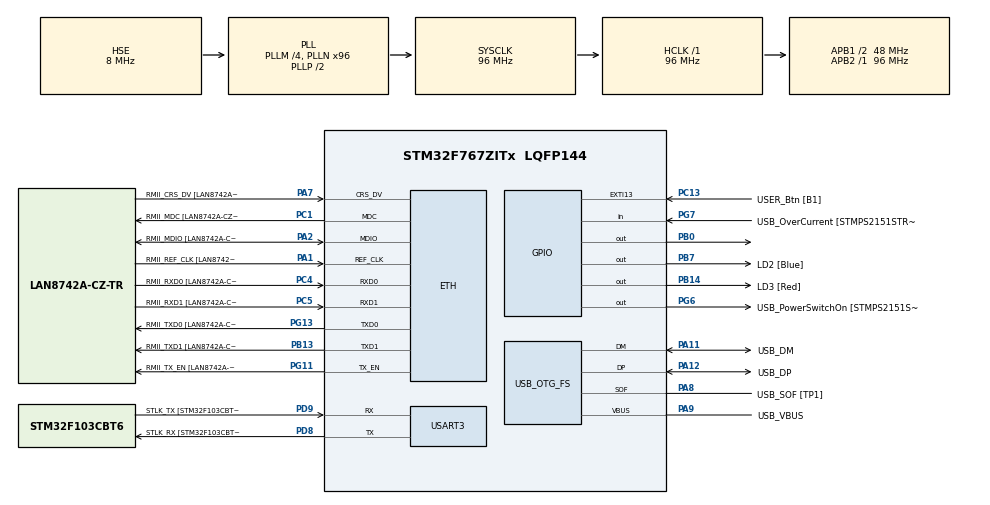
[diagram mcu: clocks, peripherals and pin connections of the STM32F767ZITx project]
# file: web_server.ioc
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ETH.MediaInterface=HAL_ETH_RMII_MODE
LWIP.BSP.number=1
LWIP.GATEWAY_ADDRESS=192.168.001.001
LWIP.HTTPD_USE_CUSTOM_FSDATA=0
LWIP.IP_ADDRESS=192.168.001.111
LWIP.LWIP_DHCP=0
LWIP.LWIP_ENABLE_NETIF_HOSTNAME=1
LWIP.LWIP_HTTPD=1
LWIP.LWIP_HTTPD_CGI=1
LWIP.LWIP_HTTPD_SSI=0
LWIP.NETMASK_ADDRESS=255.255.255.000
LWIP.Version=v2.1.2_Cube
LWIP0.BSP.STBoard=false
LWIP0.BSP.api=BSP_COMPONENT_DRIVER
LWIP0.BSP.component=LAN8742
LWIP0.BSP.instance=LAN8742
LWIP0.BSP.name=Driver_PHY
LWIP0.BSP.semaphore=S_LAN8742
LWIP0.BSP.solution=LAN8742
Mcu.Family=STM32F7
Mcu.Name=STM32F767ZITx
Mcu.Package=LQFP144
NVIC.PriorityGroup=NVIC_PRIORITYGROUP_4
PA1.GPIO_Label=RMII_REF_CLK [LAN8742A-CZ-TR_REFCLK0]
PA1.Mode=RMII
PA1.Signal=ETH_REF_CLK
PA10.GPIO_Label=USB_ID
PA10.Signal=USB_OTG_FS_ID
PA11.GPIO_Label=USB_DM
PA11.Mode=Device_Only
PA11.Signal=USB_OTG_FS_DM
PA12.GPIO_Label=USB_DP
PA12.Mode=Device_Only
PA12.Signal=USB_OTG_FS_DP
PA13.GPIO_Label=TMS
PA13.Mode=Serial_Wire
PA13.Signal=SYS_JTMS-SWDIO
PA14.GPIO_Label=TCK
PA14.Mode=Serial_Wire
PA14.Signal=SYS_JTCK-SWCLK
PA2.GPIO_Label=RMII_MDIO [LAN8742A-CZ-TR_MDIO]
PA2.Mode=RMII
PA2.Signal=ETH_MDIO
PA7.GPIO_Label=RMII_CRS_DV [LAN8742A-CZ-TR_CRS_DV]
PA7.Mode=RMII
PA7.Signal=ETH_CRS_DV
PA8.GPIO_Label=USB_SOF [TP1]
PA8.Mode=Activate_SOF_FS
PA8.Signal=USB_OTG_FS_SOF
PA9.GPIO_Label=USB_VBUS
PA9.Mode=Activate_VBUS
PA9.Signal=USB_OTG_FS_VBUS
PB0.Signal=GPIO_Output
PB13.GPIO_Label=RMII_TXD1 [LAN8742A-CZ-TR_TXD1]
PB13.Mode=RMII
PB13.Signal=ETH_TXD1
PB14.GPIO_Label=LD3 [Red]
PB14.Signal=GPIO_Output
PB3.GPIO_Label=SWO
PB3.Signal=SYS_JTDO-SWO
PB7.GPIO_Label=LD2 [Blue]
PB7.Signal=GPIO_Output
PC1.GPIO_Label=RMII_MDC [LAN8742A-CZ-TR_MDC]
PC1.Mode=RMII
PC1.Signal=ETH_MDC
PC13.GPIO_Label=USER_Btn [B1]
PC13.Signal=GPXTI13
PC14/OSC32_IN.Mode=LSE-External-Oscillator
PC14/OSC32_IN.Signal=RCC_OSC32_IN
PC15/OSC32_OUT.Mode=LSE-External-Oscillator
PC15/OSC32_OUT.Signal=RCC_OSC32_OUT
PC4.GPIO_Label=RMII_RXD0 [LAN8742A-CZ-TR_RXD0]
PC4.Mode=RMII
PC4.Signal=ETH_RXD0
PC5.GPIO_Label=RMII_RXD1 [LAN8742A-CZ-TR_RXD1]
PC5.Mode=RMII
PC5.Signal=ETH_RXD1
PD8.GPIO_Label=STLK_RX [STM32F103CBT6_PA3]
PD8.Mode=Asynchronous
PD8.Signal=USART3_TX
PD9.GPIO_Label=STLK_TX [STM32F103CBT6_PA2]
PD9.Mode=Asynchronous
PD9.Signal=USART3_RX
PG11.GPIO_Label=RMII_TX_EN [LAN8742A-CZ-TR_TXEN]
PG11.Mode=RMII
PG11.Signal=ETH_TX_EN
PG13.GPIO_Label=RMII_TXD0 [LAN8742A-CZ-TR_TXD0]
PG13.Mode=RMII
PG13.Signal=ETH_TXD0
PG6.GPIO_Label=USB_PowerSwitchOn [STMPS2151STR_EN]
PG6.Signal=GPIO_Output
PG7.GPIO_Label=USB_OverCurrent [STMPS2151STR_FAULT]
PG7.Signal=GPIO_Input
PH0/OSC_IN.GPIO_Label=MCO [STM32F103CBT6_PA8]
PH0/OSC_IN.Mode=HSE-External-Clock-Source
PH0/OSC_IN.Signal=RCC_OSC_IN
PH1/OSC_OUT.Mode=HSE-External-Clock-Source
PH1/OSC_OUT.Signal=RCC_OSC_OUT
ProjectManager.HeapSize=0x200
ProjectManager.StackSize=0x400
ProjectManager.TargetToolchain=STM32CubeIDE
RCC.48MHZClocksFreq_Value=24000000
RCC.AHBFreq_Value=96000000
RCC.APB1CLKDivider=RCC_HCLK_DIV2
RCC.APB1Freq_Value=48000000
RCC.APB1TimFreq_Value=96000000
RCC.APB2Freq_Value=96000000
RCC.APB2TimFreq_Value=96000000
RCC.CortexFreq_Value=96000000
RCC.HCLKFreq_Value=96000000
RCC.HSE_VALUE=8000000
RCC.HSI_VALUE=16000000
RCC.PLLM=4
RCC.PLLMUL=RCC_PLL_MUL9
RCC.PLLN=96
RCC.PLLQ=4
RCC.PRESCALERUSB=RCC_USBCLKSOURCE_PLL_DIV1_5
RCC.SYSCLKFreq_VALUE=96000000
RCC.SYSCLKSource=RCC_SYSCLKSOURCE_PLLCLK
RCC.SYSCLKSourceVirtual=RCC_SYSCLKSOURCE_PLLCLK
RCC.USBFreq_Value=48000000
RCC.VCOOutputFreq_Value=192000000
USART3.VirtualMode-Asynchronous=VM_ASYNC
USB_OTG_FS.VirtualMode=Device_Only
VP_LWIP_VS_Enabled.Mode=Enabled
board=NUCLEO-F767ZI

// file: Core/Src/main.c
/* USER CODE BEGIN Header */
/**
  ******************************************************************************
  * @file           : main.c
  * @brief          : Main program body
  ******************************************************************************
  * @attention
  *
  * Copyright (c) 2023 STMicroelectronics.
  * All rights reserved.
  *
  * This software is licensed under terms that can be found in the LICENSE file
  * in the root directory of this software component.
  * If no LICENSE file comes with this software, it is provided AS-IS.
  * Based on embetronix.com tutorial
  ******************************************************************************
  */
/* USER CODE END Header */
#include "main.h"
#include "lwip.h"

/* USER CODE BEGIN Includes */
#include "lwip/apps/httpd.h"
#include "httpd.h"
#include <string.h>

/* USER CODE END Includes */

UART_HandleTypeDef huart3;

PCD_HandleTypeDef hpcd_USB_OTG_FS;

/* USER CODE BEGIN PV */
int GreenLED = 0;
int BlueLED  = 0;
int RedLED   = 0;
/* USER CODE END PV */

void SystemClock_Config(void);
static void MX_GPIO_Init(void);
static void MX_USART3_UART_Init(void);
static void MX_USB_OTG_FS_PCD_Init(void);
/* USER CODE BEGIN PFP */
const char *LedControlCgiHandler(int iIndex, int iNumParams, char *pcParam[], char *pcValue[]);
/* USER CODE END PFP */

int main(void)
{
  /* USER CODE BEGIN 1 */
  tCGI LED_CGI = {"/LEDControl.cgi", LedControlCgiHandler};
  /* USER CODE END 1 */

  /* MCU Configuration--------------------------------------------------------*/

  /* Reset of all peripherals, Initializes the Flash interface and the Systick. */
  HAL_Init();

  /* Configure the system clock */
  SystemClock_Config();

  /* Initialize all configured peripherals */
  MX_GPIO_Init();
  MX_USART3_UART_Init();
  MX_USB_OTG_FS_PCD_Init();
  MX_LWIP_Init();
  /* USER CODE BEGIN 2 */

  httpd_init();
  http_set_cgi_handlers(&LED_CGI, 1);
  /* USER CODE END 2 */

  /* Infinite loop */
  /* USER CODE BEGIN WHILE */
  while (1)
  {
	  MX_LWIP_Process();
    /* USER CODE END WHILE */

    /* USER CODE BEGIN 3 */
	    HAL_GPIO_WritePin(GPIOB, GPIO_PIN_0, GreenLED );     //Green LED
	    HAL_GPIO_WritePin(GPIOB, GPIO_PIN_7, BlueLED );      //Blue LED
	    HAL_GPIO_WritePin(GPIOB, GPIO_PIN_14, RedLED );      //Red LED
  }
  /* USER CODE END 3 */
}

void SystemClock_Config(void)
{
  RCC_OscInitTypeDef RCC_OscInitStruct = {0};
  RCC_ClkInitTypeDef RCC_ClkInitStruct = {0};

  /** Configure LSE Drive Capability
  */
  HAL_PWR_EnableBkUpAccess();

  /** Configure the main internal regulator output voltage
  */
  __HAL_RCC_PWR_CLK_ENABLE();
  __HAL_PWR_VOLTAGESCALING_CONFIG(PWR_REGULATOR_VOLTAGE_SCALE3);

  /** Initializes the RCC Oscillators according to the specified parameters
  * in the RCC_OscInitTypeDef structure.
  */
  RCC_OscInitStruct.OscillatorType = RCC_OSCILLATORTYPE_HSE;
  RCC_OscInitStruct.HSEState = RCC_HSE_BYPASS;
  RCC_OscInitStruct.PLL.PLLState = RCC_PLL_ON;
  RCC_OscInitStruct.PLL.PLLSource = RCC_PLLSOURCE_HSE;
  RCC_OscInitStruct.PLL.PLLM = 4;
  RCC_OscInitStruct.PLL.PLLN = 96;
  RCC_OscInitStruct.PLL.PLLP = RCC_PLLP_DIV2;
  RCC_OscInitStruct.PLL.PLLQ = 4;
  RCC_OscInitStruct.PLL.PLLR = 2;
  if (HAL_RCC_OscConfig(&RCC_OscInitStruct) != HAL_OK)
  {
    Error_Handler();
  }

  /** Activate the Over-Drive mode
  */
  if (HAL_PWREx_EnableOverDrive() != HAL_OK)
  {
    Error_Handler();
  }

  /** Initializes the CPU, AHB and APB buses clocks
  */
  RCC_ClkInitStruct.ClockType = RCC_CLOCKTYPE_HCLK|RCC_CLOCKTYPE_SYSCLK
                              |RCC_CLOCKTYPE_PCLK1|RCC_CLOCKTYPE_PCLK2;
  RCC_ClkInitStruct.SYSCLKSource = RCC_SYSCLKSOURCE_PLLCLK;
  RCC_ClkInitStruct.AHBCLKDivider = RCC_SYSCLK_DIV1;
  RCC_ClkInitStruct.APB1CLKDivider = RCC_HCLK_DIV2;
  RCC_ClkInitStruct.APB2CLKDivider = RCC_HCLK_DIV1;

  if (HAL_RCC_ClockConfig(&RCC_ClkInitStruct, FLASH_LATENCY_3) != HAL_OK)
  {
    Error_Handler();
  }
}

static void MX_USART3_UART_Init(void)
{

  huart3.Instance = USART3;
  huart3.Init.BaudRate = 115200;
  huart3.Init.WordLength = UART_WORDLENGTH_8B;
  huart3.Init.StopBits = UART_STOPBITS_1;
  huart3.Init.Parity = UART_PARITY_NONE;
  huart3.Init.Mode = UART_MODE_TX_RX;
  huart3.Init.HwFlowCtl = UART_HWCONTROL_NONE;
  huart3.Init.OverSampling = UART_OVERSAMPLING_16;
  huart3.Init.OneBitSampling = UART_ONE_BIT_SAMPLE_DISABLE;
  huart3.AdvancedInit.AdvFeatureInit = UART_ADVFEATURE_NO_INIT;
  if (HAL_UART_Init(&huart3) != HAL_OK)
  {
    Error_Handler();
  }

}

static void MX_USB_OTG_FS_PCD_Init(void)
{

  hpcd_USB_OTG_FS.Instance = USB_OTG_FS;
  hpcd_USB_OTG_FS.Init.dev_endpoints = 6;
  hpcd_USB_OTG_FS.Init.speed = PCD_SPEED_FULL;
  hpcd_USB_OTG_FS.Init.dma_enable = DISABLE;
  hpcd_USB_OTG_FS.Init.phy_itface = PCD_PHY_EMBEDDED;
  hpcd_USB_OTG_FS.Init.Sof_enable = ENABLE;
  hpcd_USB_OTG_FS.Init.low_power_enable = DISABLE;
  hpcd_USB_OTG_FS.Init.lpm_enable = DISABLE;
  hpcd_USB_OTG_FS.Init.vbus_sensing_enable = ENABLE;
  hpcd_USB_OTG_FS.Init.use_dedicated_ep1 = DISABLE;
  if (HAL_PCD_Init(&hpcd_USB_OTG_FS) != HAL_OK)
  {
    Error_Handler();
  }

}

static void MX_GPIO_Init(void)
{
  GPIO_InitTypeDef GPIO_InitStruct = {0};

  /* GPIO Ports Clock Enable */
  __HAL_RCC_GPIOC_CLK_ENABLE();
  __HAL_RCC_GPIOH_CLK_ENABLE();
  __HAL_RCC_GPIOA_CLK_ENABLE();
  __HAL_RCC_GPIOB_CLK_ENABLE();
  __HAL_RCC_GPIOD_CLK_ENABLE();
  __HAL_RCC_GPIOG_CLK_ENABLE();

  /*Configure GPIO pin Output Level */
  HAL_GPIO_WritePin(GPIOB, GPIO_PIN_0|LD3_Pin|LD2_Pin, GPIO_PIN_RESET);

  /*Configure GPIO pin Output Level */
  HAL_GPIO_WritePin(USB_PowerSwitchOn_GPIO_Port, USB_PowerSwitchOn_Pin, GPIO_PIN_RESET);

  /*Configure GPIO pin : USER_Btn_Pin */
  GPIO_InitStruct.Pin = USER_Btn_Pin;
  GPIO_InitStruct.Mode = GPIO_MODE_IT_RISING;
  GPIO_InitStruct.Pull = GPIO_NOPULL;
  HAL_GPIO_Init(USER_Btn_GPIO_Port, &GPIO_InitStruct);

  /*Configure GPIO pins : PB0 LD3_Pin LD2_Pin */
  GPIO_InitStruct.Pin = GPIO_PIN_0|LD3_Pin|LD2_Pin;
  GPIO_InitStruct.Mode = GPIO_MODE_OUTPUT_PP;
  GPIO_InitStruct.Pull = GPIO_NOPULL;
  GPIO_InitStruct.Speed = GPIO_SPEED_FREQ_LOW;
  HAL_GPIO_Init(GPIOB, &GPIO_InitStruct);

  /*Configure GPIO pin : USB_PowerSwitchOn_Pin */
  GPIO_InitStruct.Pin = USB_PowerSwitchOn_Pin;
  GPIO_InitStruct.Mode = GPIO_MODE_OUTPUT_PP;
  GPIO_InitStruct.Pull = GPIO_NOPULL;
  GPIO_InitStruct.Speed = GPIO_SPEED_FREQ_LOW;
  HAL_GPIO_Init(USB_PowerSwitchOn_GPIO_Port, &GPIO_InitStruct);

  /*Configure GPIO pin : USB_OverCurrent_Pin */
  GPIO_InitStruct.Pin = USB_OverCurrent_Pin;
  GPIO_InitStruct.Mode = GPIO_MODE_INPUT;
  GPIO_InitStruct.Pull = GPIO_NOPULL;
  HAL_GPIO_Init(USB_OverCurrent_GPIO_Port, &GPIO_InitStruct);

}

/* USER CODE BEGIN 4 */
const char *LedControlCgiHandler(int index, int numParams, char *pcParam[], char *pcValue[])
{
  if(index == 0)
  {
    for(int i=0; i < numParams; i++)
    {
      if(strcmp(pcParam[i], "green") == 0)
      {
        if(strcmp(pcValue[i], "ON") == 0)
        {
          GreenLED = 1;
        }
        else
        {
          GreenLED = 0;
        }
      }
      else if(strcmp(pcParam[i], "blue") == 0)
      {
        if(strcmp(pcValue[i], "ON") == 0)
        {
          BlueLED = 1;
        }
        else
        {
          BlueLED = 0;
        }
      }
      else if(strcmp(pcParam[i], "red") == 0)
      {
        if(strcmp(pcValue[i], "ON") == 0)
        {
          RedLED = 1;
        }
        else
        {
          RedLED = 0;
        }
      }
    }
  }
  return "/index.html";
}
/* USER CODE END 4 */

void Error_Handler(void)
{
  __disable_irq();
  while (1)
  {
  }
}
